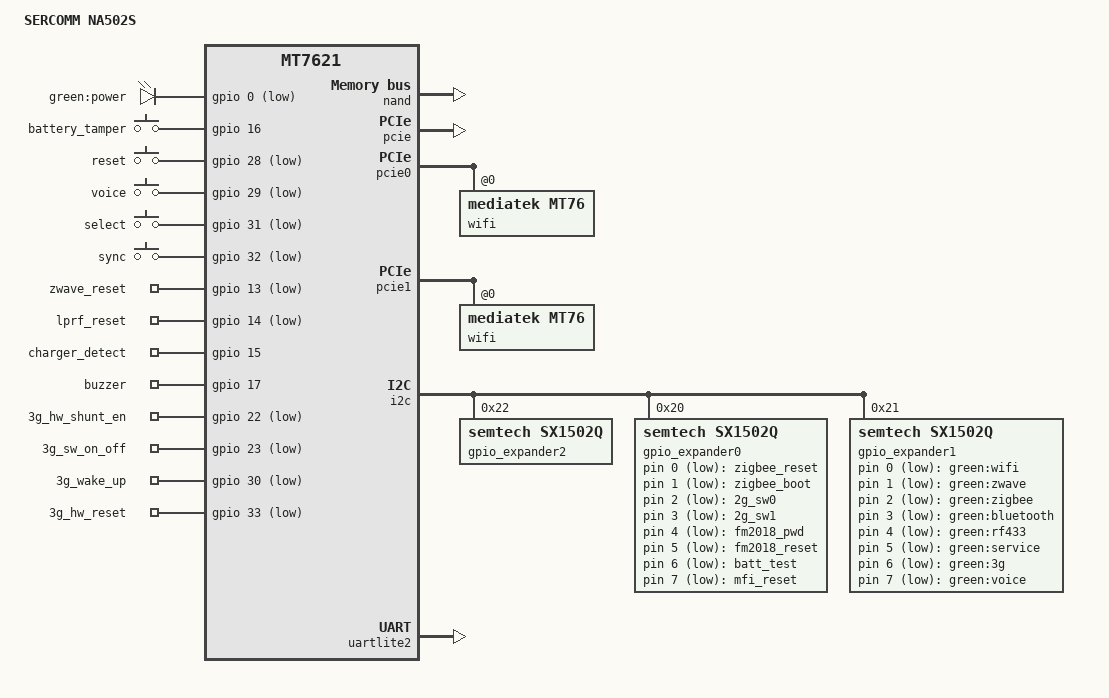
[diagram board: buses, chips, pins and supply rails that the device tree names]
// SPDX-License-Identifier: GPL-2.0-or-later
#include "mt7621.dtsi"

#include <dt-bindings/gpio/gpio.h>
#include <dt-bindings/input/input.h>

/ {
	compatible = "sercomm,na502s", "mediatek,mt7621-soc";
	model = "SERCOMM NA502S";

	aliases {
		led-boot = &led_power;
		led-failsafe = &led_power;
		led-running = &led_power;
		led-upgrade = &led_power;
	};

	leds {
		compatible = "gpio-leds";

		led_power: power {
			label = "green:power";
			gpios = <&gpio 0 GPIO_ACTIVE_LOW>;
		};

		wifi {
			label = "green:wifi";
			gpios = <&gpio_expander1 0 GPIO_ACTIVE_LOW>;
			linux,default-trigger = "phy0tpt";
		};

		zwave {
			label = "green:zwave";
			gpios = <&gpio_expander1 1 GPIO_ACTIVE_LOW>;
		};

		zigbee {
			label = "green:zigbee";
			gpios = <&gpio_expander1 2 GPIO_ACTIVE_LOW>;
		};

		bluetooth {
			label = "green:bluetooth";
			gpios = <&gpio_expander1 3 GPIO_ACTIVE_LOW>;
		};

		rf433 {
			label = "green:rf433";
			gpios = <&gpio_expander1 4 GPIO_ACTIVE_LOW>;
		};

		service {
			label = "green:service";
			gpios = <&gpio_expander1 5 GPIO_ACTIVE_LOW>;
		};

		3g {
			label = "green:3g";
			gpios = <&gpio_expander1 6 GPIO_ACTIVE_LOW>;
		};

		voice {
			label = "green:voice";
			gpios = <&gpio_expander1 7 GPIO_ACTIVE_LOW>;
		};
	};

	keys {
		compatible = "gpio-keys";

		battery_tamper {
			label = "battery_tamper";
			gpios = <&gpio 16 GPIO_ACTIVE_HIGH>;
			linux,code = <BTN_1>;
		};

		reset {
			label = "reset";
			gpios = <&gpio 28 GPIO_ACTIVE_LOW>;
			linux,code = <KEY_RESTART>;
		};

		voice {
			label = "voice";
			gpios = <&gpio 29 GPIO_ACTIVE_LOW>;
			linux,code = <BTN_0>;
		};

		select {
			label = "select";
			gpios = <&gpio 31 GPIO_ACTIVE_LOW>;
			linux,code = <BTN_1>;
		};

		sync {
			label = "sync";
			gpios = <&gpio 32 GPIO_ACTIVE_LOW>;
			linux,code = <KEY_RFKILL>;
		};
	};

	gpio-export {
		compatible = "gpio-export";

		zwave_reset {
			gpio-export,name = "zwave_reset";
			gpio-export,output = <1>;
			gpios = <&gpio 13 GPIO_ACTIVE_LOW>;
		};

		lprf_reset {
			gpio-export,name = "lprf_reset";
			gpio-export,output = <1>;
			gpios = <&gpio 14 GPIO_ACTIVE_LOW>;
		};

		charger_detect {
			gpio-export,name = "charger_detect";
			gpios = <&gpio 15 GPIO_ACTIVE_HIGH>;
		};

		buzzer {
			gpio-export,name = "buzzer";
			gpio-export,output = <0>;
			gpios = <&gpio 17 GPIO_ACTIVE_HIGH>;
		};

		3g_hw_shunt_en {
			gpio-export,name = "3g_hw_shunt_en";
			gpio-export,output = <0>;
			gpios = <&gpio 22 GPIO_ACTIVE_LOW>;
		};

		3g_sw_on_off {
			gpio-export,name = "3g_sw_on_off";
			gpio-export,output = <1>;
			gpios = <&gpio 23 GPIO_ACTIVE_LOW>;
		};

		3g_wake_up {
			gpio-export,name = "3g_wake_up";
			gpio-export,output = <0>;
			gpios = <&gpio 30 GPIO_ACTIVE_LOW>;
		};

		3g_hw_reset {
			gpio-export,name = "3g_hw_reset";
			gpio-export,output = <1>;
			gpios = <&gpio 33 GPIO_ACTIVE_LOW>;
		};

		zigbee_reset {
			gpio-export,name = "zigbee_reset";
			gpio-export,output = <1>;
			gpios = <&gpio_expander0 0 GPIO_ACTIVE_LOW>;
		};

		zigbee_boot {
			gpio-export,name = "zigbee_boot";
			gpio-export,output = <1>;
			gpios = <&gpio_expander0 1 GPIO_ACTIVE_LOW>;
		};

		2g_sw0 {
			gpio-export,name = "2g_sw0";
			gpio-export,output = <1>;
			gpios = <&gpio_expander0 2 GPIO_ACTIVE_LOW>;
		};

		2g_sw1 {
			gpio-export,name = "2g_sw1";
			gpio-export,output = <1>;
			gpios = <&gpio_expander0 3 GPIO_ACTIVE_LOW>;
		};

		fm2018_pwd {
			gpio-export,name = "fm2018_pwd";
			gpio-export,output = <1>;
			gpios = <&gpio_expander0 4 GPIO_ACTIVE_LOW>;
		};

		fm2018_reset {
			gpio-export,name = "fm2018_reset";
			gpio-export,output = <1>;
			gpios = <&gpio_expander0 5 GPIO_ACTIVE_LOW>;
		};

		batt_teset {
			gpio-export,name = "batt_test";
			gpio-export,output = <1>;
			gpios = <&gpio_expander0 6 GPIO_ACTIVE_LOW>;
		};

		mfi_reset {
			gpio-export,name = "mfi_reset";
			gpio-export,output = <1>;
			gpios = <&gpio_expander0 7 GPIO_ACTIVE_LOW>;
		};
	};
};

&ethernet {
	pinctrl-0 = <&mdio_pins>, <&rgmii1_pins>;
};

&gmac0 {
	nvmem-cells = <&macaddr_factory_e000>;
	nvmem-cell-names = "mac-address";
};

&nand {
	status = "okay";

	partitions {
		compatible = "fixed-partitions";
		#address-cells = <1>;
		#size-cells = <1>;

		partition@0 {
			label = "u-boot";
			reg = <0x0 0x80000>;
			read-only;
		};

		partition@80000 {
			label = "config";
			reg = <0x80000 0x80000>;
			read-only;
		};

		factory: partition@100000 {
			label = "factory";
			reg = <0x100000 0x40000>;
		};

		partition@140000 {
			label = "kernel1";
			reg = <0x140000 0x1400000>;
		};

		partition@1540000 {
			label = "kernel";
			reg = <0x1540000 0x400000>;
		};

		partition@1940000 {
			label = "ubi";
			reg = <0x1940000 0x1000000>;
		};

		partition@2940000 {
			label = "user_storage";
			reg = <0x2940000 0x100000>;
		};

		partition@2a40000 {
			label = "data";
			reg = <0x2a40000 0x1000000>;
		};

		partition@3a40000 {
			label = "storage";
			reg = <0x3a40000 0x3200000>;
		};

		partition@6c40000 {
			label = "backup";
			reg = <0x6c40000 0x1340000>;
		};
	};
};

&pcie {
	status = "okay";
};

&pcie0 {
	wifi@0,0 {
		compatible = "mediatek,mt76";
		reg = <0x0000 0 0 0 0>;
		mediatek,mtd-eeprom = <&factory 0x8000>;
		nvmem-cells = <&macaddr_factory_e000>;
		nvmem-cell-names = "mac-address";
		mac-address-increment = <1>;
		ieee80211-freq-limit = <5000000 6000000>;
	};
};

&pcie1 {
	wifi@0,0 {
		compatible = "mediatek,mt76";
		reg = <0x0 0 0 0 0>;
		mediatek,mtd-eeprom = <&factory 0x0000>;
		nvmem-cells = <&macaddr_factory_e000>;
		nvmem-cell-names = "mac-address";
		mac-address-increment = <2>;
		ieee80211-freq-limit = <2400000 2500000>;
	};
};

&state_default {
	gpio {
		groups = "jtag", "rgmii2";
		function = "gpio";
	};
};

&i2c {
	status = "okay";

	/* This GPIO expander is fake. The kernel fails to initialize the
	   first expander, but succeeds on the second (real) one */
	gpio_expander2: gpio-expander2@22 {
		#gpio-cells = <2>;
		#interrupt-cells = <2>;
		compatible = "semtech,sx1502q";
		reg = <0x22>;

		gpio-controller;
	};

	gpio_expander0: gpio-expander0@20 {
		#gpio-cells = <2>;
		#interrupt-cells = <2>;
		compatible = "semtech,sx1502q";
		reg = <0x20>;

		gpio-controller;
	};

	gpio_expander1: gpio-expander1@21 {
		#gpio-cells = <2>;
		#interrupt-cells = <2>;
		compatible = "semtech,sx1502q";
		reg = <0x21>;

		gpio-controller;
	};
};

&switch0 {
	ports {
		port@4 {
			status = "okay";
			label = "lan";
		};
	};
};

&uartlite2 {
	status = "okay";
};

&factory {
	compatible = "nvmem-cells";
	#address-cells = <1>;
	#size-cells = <1>;

	macaddr_factory_e000: macaddr@e000 {
		reg = <0xe000 0x6>;
	};
};
